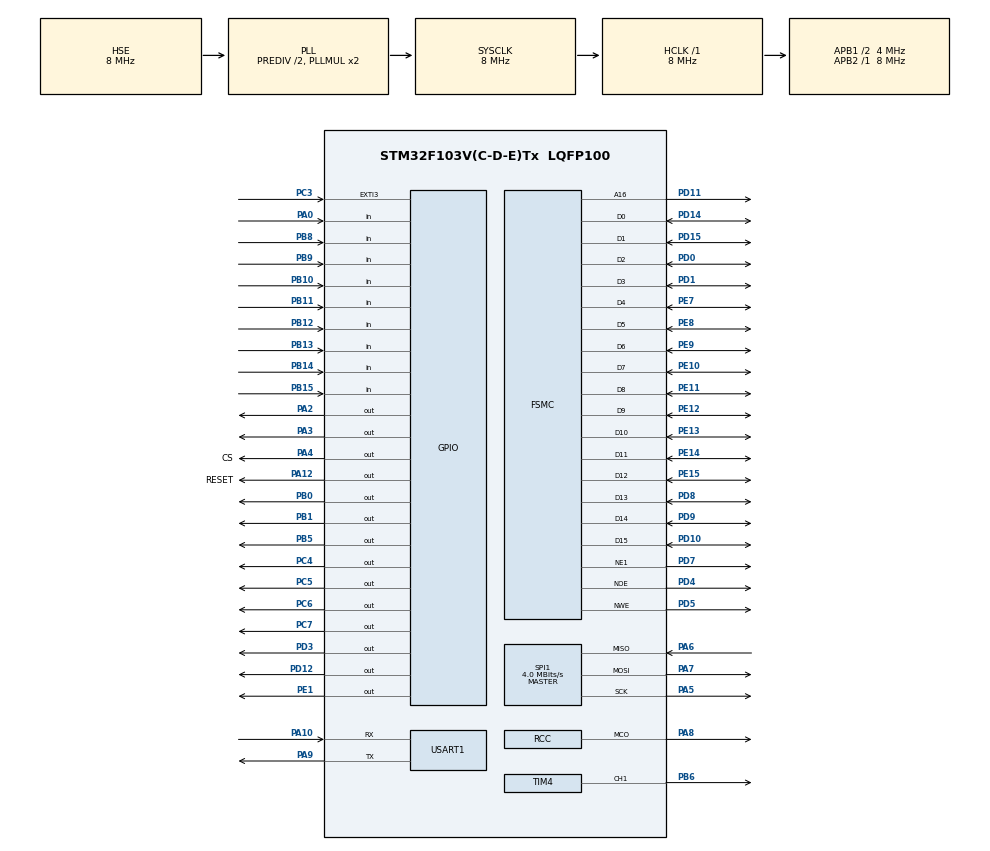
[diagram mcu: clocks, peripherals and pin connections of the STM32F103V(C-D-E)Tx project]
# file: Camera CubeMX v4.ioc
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Mcu.Family=STM32F1
Mcu.Name=STM32F103V(C-D-E)Tx
Mcu.Package=LQFP100
NVIC.EXTI3_IRQn=true\:0\:0\:false\:false\:true\:true\:true\:true
NVIC.PriorityGroup=NVIC_PRIORITYGROUP_4
OSC_IN.Mode=HSE-External-Oscillator
OSC_IN.Signal=RCC_OSC_IN
OSC_OUT.Mode=HSE-External-Oscillator
OSC_OUT.Signal=RCC_OSC_OUT
PA0-WKUP.GPIO_PuPd=GPIO_PULLUP
PA0-WKUP.Signal=GPIO_Input
PA10.Mode=Asynchronous
PA10.Signal=USART1_RX
PA12.GPIO_Label=RESET
PA12.Signal=GPIO_Output
PA13.Mode=Serial_Wire
PA13.Signal=SYS_JTMS-SWDIO
PA14.Mode=Serial_Wire
PA14.Signal=SYS_JTCK-SWCLK
PA2.GPIO_Speed=GPIO_SPEED_FREQ_HIGH
PA2.Signal=GPIO_Output
PA3.GPIO_Speed=GPIO_SPEED_FREQ_HIGH
PA3.Signal=GPIO_Output
PA4.GPIO_Label=CS
PA4.Signal=GPIO_Output
PA5.Mode=Full_Duplex_Master
PA5.Signal=SPI1_SCK
PA6.Mode=Full_Duplex_Master
PA6.Signal=SPI1_MISO
PA7.Mode=Full_Duplex_Master
PA7.Signal=SPI1_MOSI
PA8.Mode=Clock-out
PA8.Signal=RCC_MCO
PA9.Mode=Asynchronous
PA9.Signal=USART1_TX
PB0.GPIO_Speed=GPIO_SPEED_FREQ_HIGH
PB0.PinState=GPIO_PIN_SET
PB0.Signal=GPIO_Output
PB1.PinState=GPIO_PIN_SET
PB1.Signal=GPIO_Output
PB10.Signal=GPIO_Input
PB11.Signal=GPIO_Input
PB12.Signal=GPIO_Input
PB13.Signal=GPIO_Input
PB14.Signal=GPIO_Input
PB15.Signal=GPIO_Input
PB5.GPIO_Speed=GPIO_SPEED_FREQ_HIGH
PB5.PinState=GPIO_PIN_SET
PB5.Signal=GPIO_Output
PB6.Signal=S_TIM4_CH1
PB8.Signal=GPIO_Input
PB9.Signal=GPIO_Input
PC14-OSC32_IN.Mode=LSE-External-Oscillator
PC14-OSC32_IN.Signal=RCC_OSC32_IN
PC15-OSC32_OUT.Mode=LSE-External-Oscillator
PC15-OSC32_OUT.Signal=RCC_OSC32_OUT
PC3.GPIO_ModeDefaultEXTI=GPIO_MODE_IT_FALLING
PC3.Signal=GPXTI3
PC4.GPIO_Speed=GPIO_SPEED_FREQ_HIGH
PC4.Signal=GPIO_Output
PC5.GPIO_Speed=GPIO_SPEED_FREQ_HIGH
PC5.Signal=GPIO_Output
PC6.GPIO_ModeDefaultOutputPP=GPIO_MODE_OUTPUT_OD
PC6.GPIO_PuPd=GPIO_NOPULL
PC6.GPIO_Speed=GPIO_SPEED_FREQ_HIGH
PC6.Signal=GPIO_Output
PC7.GPIO_ModeDefaultOutputPP=GPIO_MODE_OUTPUT_OD
PC7.GPIO_Speed=GPIO_SPEED_FREQ_HIGH
PC7.Signal=GPIO_Output
PD0.Mode=16b-d1
PD0.Signal=FSMC_D2
PD1.Mode=16b-d1
PD1.Signal=FSMC_D3
PD10.Mode=16b-d1
PD10.Signal=FSMC_D15
PD11.Mode=A16_1
PD11.Signal=FSMC_A16
PD12.GPIO_Speed=GPIO_SPEED_FREQ_HIGH
PD12.PinState=GPIO_PIN_RESET
PD12.Signal=GPIO_Output
PD14.Mode=16b-d1
PD14.Signal=FSMC_D0
PD15.Mode=16b-d1
PD15.Signal=FSMC_D1
PD3.GPIO_Speed=GPIO_SPEED_FREQ_HIGH
PD3.Signal=GPIO_Output
PD4.Mode=Lcd1
PD4.Signal=FSMC_NOE
PD5.Mode=Lcd1
PD5.Signal=FSMC_NWE
PD7.Mode=NorPsramChipSelect1_1
PD7.Signal=FSMC_NE1
PD8.Mode=16b-d1
PD8.Signal=FSMC_D13
PD9.Mode=16b-d1
PD9.Signal=FSMC_D14
PE1.GPIO_Speed=GPIO_SPEED_FREQ_HIGH
PE1.PinState=GPIO_PIN_RESET
PE1.Signal=GPIO_Output
PE10.Mode=16b-d1
PE10.Signal=FSMC_D7
PE11.Mode=16b-d1
PE11.Signal=FSMC_D8
PE12.Mode=16b-d1
PE12.Signal=FSMC_D9
PE13.Mode=16b-d1
PE13.Signal=FSMC_D10
PE14.Mode=16b-d1
PE14.Signal=FSMC_D11
PE15.Mode=16b-d1
PE15.Signal=FSMC_D12
PE7.Mode=16b-d1
PE7.Signal=FSMC_D4
PE8.Mode=16b-d1
PE8.Signal=FSMC_D5
PE9.Mode=16b-d1
PE9.Signal=FSMC_D6
ProjectManager.HeapSize=0x200
ProjectManager.StackSize=0x400
ProjectManager.TargetToolchain=STM32CubeIDE
RCC.AHBFreq_Value=8000000
RCC.APB1CLKDivider=RCC_HCLK_DIV2
RCC.APB1Freq_Value=4000000
RCC.APB1TimFreq_Value=8000000
RCC.APB2Freq_Value=8000000
RCC.APB2TimFreq_Value=8000000
RCC.HCLKFreq_Value=8000000
RCC.HSEDivPLL=RCC_HSE_PREDIV_DIV2
RCC.PLLSourceVirtual=RCC_PLLSOURCE_HSE
RCC.SYSCLKFreq_VALUE=8000000
RCC.SYSCLKSource=RCC_SYSCLKSOURCE_PLLCLK
RCC.USBFreq_Value=8000000
SH.S_TIM4_CH1.0=TIM4_CH1,PWM Generation1 CH1
SPI1.CalculateBaudRate=4.0 MBits/s
SPI1.Direction=SPI_DIRECTION_2LINES
SPI1.Mode=SPI_MODE_MASTER
SPI1.VirtualType=VM_MASTER
TIM3.Channel-PWM\ Generation1\ CH1=TIM_CHANNEL_1
TIM3.Period=99
TIM3.Prescaler=0
TIM3.Pulse-PWM\ Generation1\ CH1=30
TIM3.TIM_MasterOutputTrigger=TIM_TRGO_UPDATE
TIM3.TIM_MasterSlaveMode=TIM_MASTERSLAVEMODE_ENABLE
TIM4.Channel-PWM\ Generation1\ CH1=TIM_CHANNEL_1
TIM4.Period=1596
TIM4.Pulse-PWM\ Generation1\ CH1=1116
USART1.VirtualMode=VM_ASYNC
VP_TIM3_VS_ClockSourceINT.Mode=Internal
VP_TIM4_VS_ClockSourceITR.Mode=TriggerSource_ITR2
VP_TIM4_VS_ControllerModeClock.Mode=Clock Mode
board=custom

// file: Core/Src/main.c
/* USER CODE BEGIN Header */
/**
  ******************************************************************************
  * @file           : main.c
  * @brief          : Main program body
  ******************************************************************************
  * @attention
  *
  * <h2><center>&copy; Copyright (c) 2019 STMicroelectronics.
  * All rights reserved.</center></h2>
  *
  * This software component is licensed by ST under BSD 3-Clause license,
  * the "License"; You may not use this file except in compliance with the
  * License. You may obtain a copy of the License at:
  *                        opensource.org/licenses/BSD-3-Clause
  *
  ******************************************************************************
  */
/* USER CODE END Header */

#include "main.h"

/* USER CODE BEGIN Includes */
#include "lcd.h"
#include "bsp_ov7725.h"
#include "bsp_sccb.h"
#include "MFRC522_STM32.h"
/* USER CODE END Includes */

SPI_HandleTypeDef hspi1;

TIM_HandleTypeDef htim3;
TIM_HandleTypeDef htim4;

UART_HandleTypeDef huart1;

SRAM_HandleTypeDef hsram1;

/* USER CODE BEGIN PV */
uint8_t rx_buff[1];
volatile uint8_t haveResponse = 0;

uint8_t uid[4];

MFRC522_t rfID = {&hspi1, GPIOA, CS_Pin, GPIOA, RESET_Pin};

// RFID state machine: 0 = waiting for card, 1 = card detected (waiting for removal)
uint8_t rfid_state = 0;
uint32_t last_rfid_check = 0;

// Door state tracking
uint8_t door_open = 0;
uint32_t door_open_time = 0;
/* USER CODE END PV */

void SystemClock_Config(void);
static void MX_GPIO_Init(void);
static void MX_FSMC_Init(void);
static void MX_USART1_UART_Init(void);
static void MX_TIM3_Init(void);
static void MX_TIM4_Init(void);
static void MX_SPI1_Init(void);
/* USER CODE BEGIN PFP */
volatile uint8_t Ov7725_vsync ;
/* USER CODE END PFP */

/* USER CODE BEGIN 0 */
uint8_t tx_buff[] = "Hello Wrold!!!";
/* USER CODE END 0 */

int main(void)
{

  /* MCU Configuration--------------------------------------------------------*/

  /* Reset of all peripherals, Initializes the Flash interface and the Systick. */
  HAL_Init();

  /* Configure the system clock */
  SystemClock_Config();

  /* Initialize all configured peripherals */
  MX_GPIO_Init();
  MX_FSMC_Init();
  MX_USART1_UART_Init();
  MX_TIM3_Init();
  MX_TIM4_Init();
  MX_SPI1_Init();
  /* USER CODE BEGIN 2 */
  HAL_TIM_PWM_Start(&htim3, TIM_CHANNEL_1);
  HAL_TIM_PWM_Start(&htim4, TIM_CHANNEL_1);

	LCD_INIT();

	LCD_Clear (50, 80, 140, 70, RED);
	LCD_DrawString(75, 100, (uint8_t *)"CAMERA DEMOV4");
	HAL_Delay(1000);

	  // Ensure CS pin is HIGH (idle) before initialization
	  HAL_GPIO_WritePin(GPIOA, CS_Pin, GPIO_PIN_SET);
	  HAL_Delay(10);

	  MFRC522_Init(&rfID);
  /* USER CODE END 2 */

  /* Infinite loop */
  /* USER CODE BEGIN WHILE */

	while(Ov7725_Init() != SUCCESS);

	Ov7725_vsync = 0;

  while (1)
  {
	  // Check if door should auto-close after 3 seconds
	  if (door_open == 1) {
		  if ((HAL_GetTick() - door_open_time) >= 3000) {
			  // 3 seconds have passed, close the door
			  HAL_GPIO_WritePin(GPIOB, GPIO_PIN_0, GPIO_PIN_SET);
			  HAL_GPIO_WritePin(GPIOB, GPIO_PIN_5, GPIO_PIN_SET);
			  __HAL_TIM_SET_COMPARE(&htim4, TIM_CHANNEL_1, (1596 * 10) / 100);
			  door_open = 0; // Reset door state
		  }
	  }

	  // Non-blocking RFID Card Detection (check every 200ms)
	  if ((HAL_GetTick() - last_rfid_check) >= 200) {
		  last_rfid_check = HAL_GetTick();

		  uint8_t atqa[2]; // Local variable for card detection

		  if (rfid_state == 0) {
			  // Waiting for card - check if one is present
			  if (MFRC522_RequestA(&rfID, atqa) == STATUS_OK) {
				  // Card detected, read UID
				  if (MFRC522_ReadUid(&rfID, uid) == STATUS_OK) {
					  // Display UID on LCD with label
					  uint8_t uid_str[25];
					  sprintf((char *)uid_str, "UID: %02X %02X %02X %02X", uid[0], uid[1], uid[2], uid[3]);
					  uid_str[24] = '\0'; // Ensure null termination
					  LCD_DrawString(50, 50, uid_str);

					  // Match the ID to 50 65 92 61 (User A)
					  if (uid[0] == 0x50 && uid[1] == 0x65 && uid[2] == 0x92 && uid[3] == 0x61) {
						  // Authorized user - open the door and display welcome message
						  HAL_GPIO_WritePin(GPIOB, GPIO_PIN_0, GPIO_PIN_RESET);
						  __HAL_TIM_SET_COMPARE(&htim4, TIM_CHANNEL_1, (1596 * 5) / 100);
						  LCD_DrawString(8, 100, "                            ");
						  LCD_DrawString(8, 100, "Welcome User A");
						  door_open = 1; // Set door_open state to on
						  door_open_time = HAL_GetTick(); // Record when door was opened
					  }   else if (uid[0] == 0x50 && uid[1] == 0x78 && uid[2] == 0xCD && uid[3] == 0x61) {
						  // Authorized user - open the door and display welcome message
						  HAL_GPIO_WritePin(GPIOB, GPIO_PIN_0, GPIO_PIN_RESET);
						  __HAL_TIM_SET_COMPARE(&htim4, TIM_CHANNEL_1, (1596 * 5) / 100);
						  LCD_DrawString(8, 100, "                            ");
						  LCD_DrawString(8, 100, "Welcome User B");
						  door_open = 1; // Set door_open state to on
						  door_open_time = HAL_GetTick(); // Record when door was opened
					  }

					  else {
						  // Not authorized - keep door closed and display message
						  HAL_GPIO_WritePin(GPIOB, GPIO_PIN_5, GPIO_PIN_RESET);
						  __HAL_TIM_SET_COMPARE(&htim4, TIM_CHANNEL_1, (1596 * 10) / 100);
						  LCD_DrawString(8, 100, "                            ");
						  LCD_DrawString(8, 100, "Not authorized");
					  }

					  rfid_state = 1; // Move to waiting for removal state
				  }
			  }
		  }
		  else if (rfid_state == 1) {
			  // Card detected - check if it's been removed
			  if (MFRC522_RequestA(&rfID, atqa) != STATUS_OK) {
				  // Card removed, clear display and reset state
				  LCD_DrawString(50, 50, (uint8_t *)"                "); // Clear UID display
				  LCD_DrawString(8, 100, "                            "); // Clear message
				  __HAL_TIM_SET_COMPARE(&htim4, TIM_CHANNEL_1, (1596 * 10) / 100);
				  HAL_GPIO_WritePin(GPIOB, GPIO_PIN_0, GPIO_PIN_SET);
				  HAL_GPIO_WritePin(GPIOB, GPIO_PIN_5, GPIO_PIN_SET);
				  door_open = 0; // Reset door state when card is removed
				  rfid_state = 0; // Back to waiting for card
			  }
		  }
	  }

		// Check for UART data from computer (V: User A, C: User B, N: Refuse, X: close)
		if (HAL_UART_Receive(&huart1, rx_buff, 1, 100) == HAL_OK) {
			if (rx_buff[0] == 'X') {
				HAL_GPIO_WritePin(GPIOB, GPIO_PIN_5, GPIO_PIN_SET);
				HAL_GPIO_WritePin(GPIOB, GPIO_PIN_0, GPIO_PIN_SET);
				__HAL_TIM_SET_COMPARE(&htim4, TIM_CHANNEL_1, (1596 * 10) / 100);
				door_open = 0; // Reset door state when manually closed
			}
			if (rx_buff[0] == 'A') {
  				HAL_GPIO_WritePin(GPIOB, GPIO_PIN_0, GPIO_PIN_RESET);
  				door_open = 1;
  				__HAL_TIM_SET_COMPARE(&htim4, TIM_CHANNEL_1, (1596 * 5) / 100);
  				LCD_DrawString(8, 100, "                            ");
  				LCD_DrawString(8, 100, "Welcome User A");
  			}
		}

		if (HAL_GPIO_ReadPin(GPIOA, GPIO_PIN_0) == GPIO_PIN_RESET)
		{
      if (Ov7725_vsync == 2)
			{
				FIFO_PREPARE;
				ImagDisp();
				Ov7725_vsync = 0;
			}
		}
		else
		{

      HAL_GPIO_WritePin(GPIOB, GPIO_PIN_1, GPIO_PIN_RESET);
      Ov7725_vsync = 3;
      //HAL_UART_Transmit (&huart1, tx_buff, sizeof(tx_buff),1000);
      LCD_DrawString(8, 100, "Processing...");

      SendFrameToPC();

      haveResponse = 0;
      while (haveResponse == 0) {
  		if (HAL_UART_Receive(&huart1, rx_buff, 1, 100) == HAL_OK) {
  			HAL_GPIO_WritePin(GPIOB, GPIO_PIN_1, GPIO_PIN_SET);
  			if (rx_buff[0] == 'A') {
  				HAL_GPIO_WritePin(GPIOB, GPIO_PIN_0, GPIO_PIN_RESET);
  				__HAL_TIM_SET_COMPARE(&htim4, TIM_CHANNEL_1, (1596 * 5) / 100);
  				LCD_DrawString(8, 100, "                            ");
  				LCD_DrawString(8, 100, "Welcome User A");
  				door_open = 1; // Set door_open state to on
  				door_open_time = HAL_GetTick(); // Record when door was opened
  				haveResponse = 1;
  			}
        else if (rx_buff[0] == 'B') {
  				HAL_GPIO_WritePin(GPIOB, GPIO_PIN_0, GPIO_PIN_RESET);
  				__HAL_TIM_SET_COMPARE(&htim4, TIM_CHANNEL_1, (1596 * 5) / 100);
  				LCD_DrawString(8, 100, "                            ");
  				LCD_DrawString(8, 100, "Welcome User B");
  				door_open = 1; // Set door_open state to on
  				door_open_time = HAL_GetTick(); // Record when door was opened
  				haveResponse = 1;
  			}
        else if (rx_buff[0] == 'N') {
  				HAL_GPIO_WritePin(GPIOB, GPIO_PIN_5, GPIO_PIN_RESET);
  				__HAL_TIM_SET_COMPARE(&htim4, TIM_CHANNEL_1, (1596 * 10) / 100);
  				LCD_DrawString(8, 100, "                            ");
  				LCD_DrawString(8, 100, "No authorized user detected");
  				haveResponse = 1;
  			}
        }
  		HAL_Delay(1000);
      }
      //clear the text
      LCD_DrawString(8, 100, "                            ");

      Ov7725_vsync = 0;
      HAL_GPIO_WritePin(GPIOB, GPIO_PIN_0, GPIO_PIN_SET);
      HAL_GPIO_WritePin(GPIOB, GPIO_PIN_5, GPIO_PIN_SET);
      // Close the door if it was opened (will auto-close after 3 seconds in main loop)
		}
    /* USER CODE END WHILE */

  }
}

void SystemClock_Config(void)
{
  RCC_OscInitTypeDef RCC_OscInitStruct = {0};
  RCC_ClkInitTypeDef RCC_ClkInitStruct = {0};

  /** Initializes the CPU, AHB and APB busses clocks
  */
  RCC_OscInitStruct.OscillatorType = RCC_OSCILLATORTYPE_HSE;
  RCC_OscInitStruct.HSEState = RCC_HSE_ON;
  RCC_OscInitStruct.HSEPredivValue = RCC_HSE_PREDIV_DIV2;
  RCC_OscInitStruct.HSIState = RCC_HSI_ON;
  RCC_OscInitStruct.PLL.PLLState = RCC_PLL_ON;
  RCC_OscInitStruct.PLL.PLLSource = RCC_PLLSOURCE_HSE;
  RCC_OscInitStruct.PLL.PLLMUL = RCC_PLL_MUL2;
  if (HAL_RCC_OscConfig(&RCC_OscInitStruct) != HAL_OK)
  {
    Error_Handler();
  }
  /** Initializes the CPU, AHB and APB busses clocks
  */
  RCC_ClkInitStruct.ClockType = RCC_CLOCKTYPE_HCLK|RCC_CLOCKTYPE_SYSCLK
                              |RCC_CLOCKTYPE_PCLK1|RCC_CLOCKTYPE_PCLK2;
  RCC_ClkInitStruct.SYSCLKSource = RCC_SYSCLKSOURCE_PLLCLK;
  RCC_ClkInitStruct.AHBCLKDivider = RCC_SYSCLK_DIV1;
  RCC_ClkInitStruct.APB1CLKDivider = RCC_HCLK_DIV2;
  RCC_ClkInitStruct.APB2CLKDivider = RCC_HCLK_DIV1;

  if (HAL_RCC_ClockConfig(&RCC_ClkInitStruct, FLASH_LATENCY_0) != HAL_OK)
  {
    Error_Handler();
  }
  HAL_RCC_MCOConfig(RCC_MCO, RCC_MCO1SOURCE_SYSCLK, RCC_MCODIV_1);
}

static void MX_SPI1_Init(void)
{

  /* SPI1 parameter configuration*/
  hspi1.Instance = SPI1;
  hspi1.Init.Mode = SPI_MODE_MASTER;
  hspi1.Init.Direction = SPI_DIRECTION_2LINES;
  hspi1.Init.DataSize = SPI_DATASIZE_8BIT;
  hspi1.Init.CLKPolarity = SPI_POLARITY_LOW;
  hspi1.Init.CLKPhase = SPI_PHASE_1EDGE;
  hspi1.Init.NSS = SPI_NSS_SOFT;
  hspi1.Init.BaudRatePrescaler = SPI_BAUDRATEPRESCALER_2;
  hspi1.Init.FirstBit = SPI_FIRSTBIT_MSB;
  hspi1.Init.TIMode = SPI_TIMODE_DISABLE;
  hspi1.Init.CRCCalculation = SPI_CRCCALCULATION_DISABLE;
  hspi1.Init.CRCPolynomial = 10;
  if (HAL_SPI_Init(&hspi1) != HAL_OK)
  {
    Error_Handler();
  }

}

static void MX_TIM3_Init(void)
{

  TIM_ClockConfigTypeDef sClockSourceConfig = {0};
  TIM_MasterConfigTypeDef sMasterConfig = {0};

  htim3.Instance = TIM3;
  htim3.Init.Prescaler = 0;
  htim3.Init.CounterMode = TIM_COUNTERMODE_UP;
  htim3.Init.Period = 99;
  htim3.Init.ClockDivision = TIM_CLOCKDIVISION_DIV1;
  htim3.Init.AutoReloadPreload = TIM_AUTORELOAD_PRELOAD_DISABLE;
  if (HAL_TIM_Base_Init(&htim3) != HAL_OK)
  {
    Error_Handler();
  }
  sClockSourceConfig.ClockSource = TIM_CLOCKSOURCE_INTERNAL;
  if (HAL_TIM_ConfigClockSource(&htim3, &sClockSourceConfig) != HAL_OK)
  {
    Error_Handler();
  }
  sMasterConfig.MasterOutputTrigger = TIM_TRGO_UPDATE;
  sMasterConfig.MasterSlaveMode = TIM_MASTERSLAVEMODE_ENABLE;
  if (HAL_TIMEx_MasterConfigSynchronization(&htim3, &sMasterConfig) != HAL_OK)
  {
    Error_Handler();
  }

}

static void MX_TIM4_Init(void)
{

  TIM_SlaveConfigTypeDef sSlaveConfig = {0};
  TIM_MasterConfigTypeDef sMasterConfig = {0};
  TIM_OC_InitTypeDef sConfigOC = {0};

  htim4.Instance = TIM4;
  htim4.Init.Prescaler = 0;
  htim4.Init.CounterMode = TIM_COUNTERMODE_UP;
  htim4.Init.Period = 1596;
  htim4.Init.ClockDivision = TIM_CLOCKDIVISION_DIV1;
  htim4.Init.AutoReloadPreload = TIM_AUTORELOAD_PRELOAD_DISABLE;
  if (HAL_TIM_Base_Init(&htim4) != HAL_OK)
  {
    Error_Handler();
  }
  if (HAL_TIM_PWM_Init(&htim4) != HAL_OK)
  {
    Error_Handler();
  }
  sSlaveConfig.SlaveMode = TIM_SLAVEMODE_EXTERNAL1;
  sSlaveConfig.InputTrigger = TIM_TS_ITR2;
  if (HAL_TIM_SlaveConfigSynchronization(&htim4, &sSlaveConfig) != HAL_OK)
  {
    Error_Handler();
  }
  sMasterConfig.MasterOutputTrigger = TIM_TRGO_RESET;
  sMasterConfig.MasterSlaveMode = TIM_MASTERSLAVEMODE_DISABLE;
  if (HAL_TIMEx_MasterConfigSynchronization(&htim4, &sMasterConfig) != HAL_OK)
  {
    Error_Handler();
  }
  sConfigOC.OCMode = TIM_OCMODE_PWM1;
  sConfigOC.Pulse = 1116;
  sConfigOC.OCPolarity = TIM_OCPOLARITY_HIGH;
  sConfigOC.OCFastMode = TIM_OCFAST_DISABLE;
  if (HAL_TIM_PWM_ConfigChannel(&htim4, &sConfigOC, TIM_CHANNEL_1) != HAL_OK)
  {
    Error_Handler();
  }
  HAL_TIM_MspPostInit(&htim4);

}

static void MX_USART1_UART_Init(void)
{

  huart1.Instance = USART1;
  huart1.Init.BaudRate = 115200;
  huart1.Init.WordLength = UART_WORDLENGTH_8B;
  huart1.Init.StopBits = UART_STOPBITS_1;
  huart1.Init.Parity = UART_PARITY_NONE;
  huart1.Init.Mode = UART_MODE_TX_RX;
  huart1.Init.HwFlowCtl = UART_HWCONTROL_NONE;
  huart1.Init.OverSampling = UART_OVERSAMPLING_16;
  if (HAL_UART_Init(&huart1) != HAL_OK)
  {
    Error_Handler();
  }

}

static void MX_GPIO_Init(void)
{
  GPIO_InitTypeDef GPIO_InitStruct = {0};

  /* GPIO Ports Clock Enable */
  __HAL_RCC_GPIOC_CLK_ENABLE();
  __HAL_RCC_GPIOA_CLK_ENABLE();
  __HAL_RCC_GPIOB_CLK_ENABLE();
  __HAL_RCC_GPIOE_CLK_ENABLE();
  __HAL_RCC_GPIOD_CLK_ENABLE();

  /*Configure GPIO pin Output Level */
  HAL_GPIO_WritePin(GPIOA, GPIO_PIN_2|GPIO_PIN_3|CS_Pin|RESET_Pin, GPIO_PIN_RESET);

  /*Configure GPIO pin Output Level */
  HAL_GPIO_WritePin(GPIOC, GPIO_PIN_4|GPIO_PIN_5|GPIO_PIN_6|GPIO_PIN_7, GPIO_PIN_RESET);

  /*Configure GPIO pin Output Level */
  HAL_GPIO_WritePin(GPIOB, GPIO_PIN_0|GPIO_PIN_1|GPIO_PIN_5, GPIO_PIN_SET);

  /*Configure GPIO pin Output Level */
  HAL_GPIO_WritePin(GPIOD, GPIO_PIN_12|GPIO_PIN_3, GPIO_PIN_RESET);

  /*Configure GPIO pin Output Level */
  HAL_GPIO_WritePin(GPIOE, GPIO_PIN_1, GPIO_PIN_RESET);

  /*Configure GPIO pin : PC3 */
  GPIO_InitStruct.Pin = GPIO_PIN_3;
  GPIO_InitStruct.Mode = GPIO_MODE_IT_FALLING;
  GPIO_InitStruct.Pull = GPIO_NOPULL;
  HAL_GPIO_Init(GPIOC, &GPIO_InitStruct);

  /*Configure GPIO pin : PA0 */
  GPIO_InitStruct.Pin = GPIO_PIN_0;
  GPIO_InitStruct.Mode = GPIO_MODE_INPUT;
  GPIO_InitStruct.Pull = GPIO_PULLUP;
  HAL_GPIO_Init(GPIOA, &GPIO_InitStruct);

  /*Configure GPIO pins : PA2 PA3 */
  GPIO_InitStruct.Pin = GPIO_PIN_2|GPIO_PIN_3;
  GPIO_InitStruct.Mode = GPIO_MODE_OUTPUT_PP;
  GPIO_InitStruct.Pull = GPIO_NOPULL;
  GPIO_InitStruct.Speed = GPIO_SPEED_FREQ_HIGH;
  HAL_GPIO_Init(GPIOA, &GPIO_InitStruct);

  /*Configure GPIO pins : CS_Pin RESET_Pin */
  GPIO_InitStruct.Pin = CS_Pin|RESET_Pin;
  GPIO_InitStruct.Mode = GPIO_MODE_OUTPUT_PP;
  GPIO_InitStruct.Pull = GPIO_NOPULL;
  GPIO_InitStruct.Speed = GPIO_SPEED_FREQ_LOW;
  HAL_GPIO_Init(GPIOA, &GPIO_InitStruct);

  /*Configure GPIO pins : PC4 PC5 */
  GPIO_InitStruct.Pin = GPIO_PIN_4|GPIO_PIN_5;
  GPIO_InitStruct.Mode = GPIO_MODE_OUTPUT_PP;
  GPIO_InitStruct.Pull = GPIO_NOPULL;
  GPIO_InitStruct.Speed = GPIO_SPEED_FREQ_HIGH;
  HAL_GPIO_Init(GPIOC, &GPIO_InitStruct);

  /*Configure GPIO pins : PB0 PB5 */
  GPIO_InitStruct.Pin = GPIO_PIN_0|GPIO_PIN_5;
  GPIO_InitStruct.Mode = GPIO_MODE_OUTPUT_PP;
  GPIO_InitStruct.Pull = GPIO_NOPULL;
  GPIO_InitStruct.Speed = GPIO_SPEED_FREQ_HIGH;
  HAL_GPIO_Init(GPIOB, &GPIO_InitStruct);

  /*Configure GPIO pin : PB1 */
  GPIO_InitStruct.Pin = GPIO_PIN_1;
  GPIO_InitStruct.Mode = GPIO_MODE_OUTPUT_PP;
  GPIO_InitStruct.Pull = GPIO_NOPULL;
  GPIO_InitStruct.Speed = GPIO_SPEED_FREQ_LOW;
  HAL_GPIO_Init(GPIOB, &GPIO_InitStruct);

  /*Configure GPIO pins : PB10 PB11 PB12 PB13
                           PB14 PB15 PB8 PB9 */
  GPIO_InitStruct.Pin = GPIO_PIN_10|GPIO_PIN_11|GPIO_PIN_12|GPIO_PIN_13
                          |GPIO_PIN_14|GPIO_PIN_15|GPIO_PIN_8|GPIO_PIN_9;
  GPIO_InitStruct.Mode = GPIO_MODE_INPUT;
  GPIO_InitStruct.Pull = GPIO_NOPULL;
  HAL_GPIO_Init(GPIOB, &GPIO_InitStruct);

  /*Configure GPIO pins : PD12 PD3 */
  GPIO_InitStruct.Pin = GPIO_PIN_12|GPIO_PIN_3;
  GPIO_InitStruct.Mode = GPIO_MODE_OUTPUT_PP;
  GPIO_InitStruct.Pull = GPIO_NOPULL;
  GPIO_InitStruct.Speed = GPIO_SPEED_FREQ_HIGH;
  HAL_GPIO_Init(GPIOD, &GPIO_InitStruct);

  /*Configure GPIO pins : PC6 PC7 */
  GPIO_InitStruct.Pin = GPIO_PIN_6|GPIO_PIN_7;
  GPIO_InitStruct.Mode = GPIO_MODE_OUTPUT_OD;
  GPIO_InitStruct.Pull = GPIO_NOPULL;
  GPIO_InitStruct.Speed = GPIO_SPEED_FREQ_HIGH;
  HAL_GPIO_Init(GPIOC, &GPIO_InitStruct);

  /*Configure GPIO pin : PA8 */
  GPIO_InitStruct.Pin = GPIO_PIN_8;
  GPIO_InitStruct.Mode = GPIO_MODE_AF_PP;
  GPIO_InitStruct.Speed = GPIO_SPEED_FREQ_LOW;
  HAL_GPIO_Init(GPIOA, &GPIO_InitStruct);

  /*Configure GPIO pin : PE1 */
  GPIO_InitStruct.Pin = GPIO_PIN_1;
  GPIO_InitStruct.Mode = GPIO_MODE_OUTPUT_PP;
  GPIO_InitStruct.Pull = GPIO_NOPULL;
  GPIO_InitStruct.Speed = GPIO_SPEED_FREQ_HIGH;
  HAL_GPIO_Init(GPIOE, &GPIO_InitStruct);

  /* EXTI interrupt init*/
  HAL_NVIC_SetPriority(EXTI3_IRQn, 0, 0);
  HAL_NVIC_EnableIRQ(EXTI3_IRQn);

}

/* FSMC initialization function */
static void MX_FSMC_Init(void)
{

  FSMC_NORSRAM_TimingTypeDef Timing = {0};

  /** Perform the SRAM1 memory initialization sequence
  */
  hsram1.Instance = FSMC_NORSRAM_DEVICE;
  hsram1.Extended = FSMC_NORSRAM_EXTENDED_DEVICE;
  /* hsram1.Init */
  hsram1.Init.NSBank = FSMC_NORSRAM_BANK1;
  hsram1.Init.DataAddressMux = FSMC_DATA_ADDRESS_MUX_DISABLE;
  hsram1.Init.MemoryType = FSMC_MEMORY_TYPE_SRAM;
  hsram1.Init.MemoryDataWidth = FSMC_NORSRAM_MEM_BUS_WIDTH_16;
  hsram1.Init.BurstAccessMode = FSMC_BURST_ACCESS_MODE_DISABLE;
  hsram1.Init.WaitSignalPolarity = FSMC_WAIT_SIGNAL_POLARITY_LOW;
  hsram1.Init.WrapMode = FSMC_WRAP_MODE_DISABLE;
  hsram1.Init.WaitSignalActive = FSMC_WAIT_TIMING_BEFORE_WS;
  hsram1.Init.WriteOperation = FSMC_WRITE_OPERATION_ENABLE;
  hsram1.Init.WaitSignal = FSMC_WAIT_SIGNAL_DISABLE;
  hsram1.Init.ExtendedMode = FSMC_EXTENDED_MODE_DISABLE;
  hsram1.Init.AsynchronousWait = FSMC_ASYNCHRONOUS_WAIT_DISABLE;
  hsram1.Init.WriteBurst = FSMC_WRITE_BURST_DISABLE;
  /* Timing */
  Timing.AddressSetupTime = 15;
  Timing.AddressHoldTime = 15;
  Timing.DataSetupTime = 255;
  Timing.BusTurnAroundDuration = 15;
  Timing.CLKDivision = 16;
  Timing.DataLatency = 17;
  Timing.AccessMode = FSMC_ACCESS_MODE_A;
  /* ExtTiming */

  if (HAL_SRAM_Init(&hsram1, &Timing, NULL) != HAL_OK)
  {
    Error_Handler( );
  }

  /** Disconnect NADV
  */

  __HAL_AFIO_FSMCNADV_DISCONNECTED();

}

/* USER CODE BEGIN 4 */
void SendFrameToPC(void) {
    uint8_t chunk[512];  // Small buffer - fits in RAM
    uint16_t pixel;
    uint16_t chunk_idx = 0;

    // Read from FIFO and send in chunks
    for(int i = 0; i < 240; i++) {
        for(int j = 0; j < 320; j++) {
            READ_FIFO_PIXEL(pixel);

            // Pack pixel into chunk buffer
            chunk[chunk_idx++] = (pixel >> 8) & 0xFF;  // High byte
            chunk[chunk_idx++] = pixel & 0xFF;         // Low byte

            // When chunk is full, send it
            if(chunk_idx >= 512) {
                HAL_UART_Transmit(&huart1, chunk, 512, 1000);
                chunk_idx = 0;
            }
        }
    }

    // Send remaining data if any
    if(chunk_idx > 0) {
        HAL_UART_Transmit(&huart1, chunk, chunk_idx, 1000);
    }
}
/* USER CODE END 4 */

void Error_Handler(void)
{
}

/************************ (C) COPYRIGHT STMicroelectronics *****END OF FILE****/
